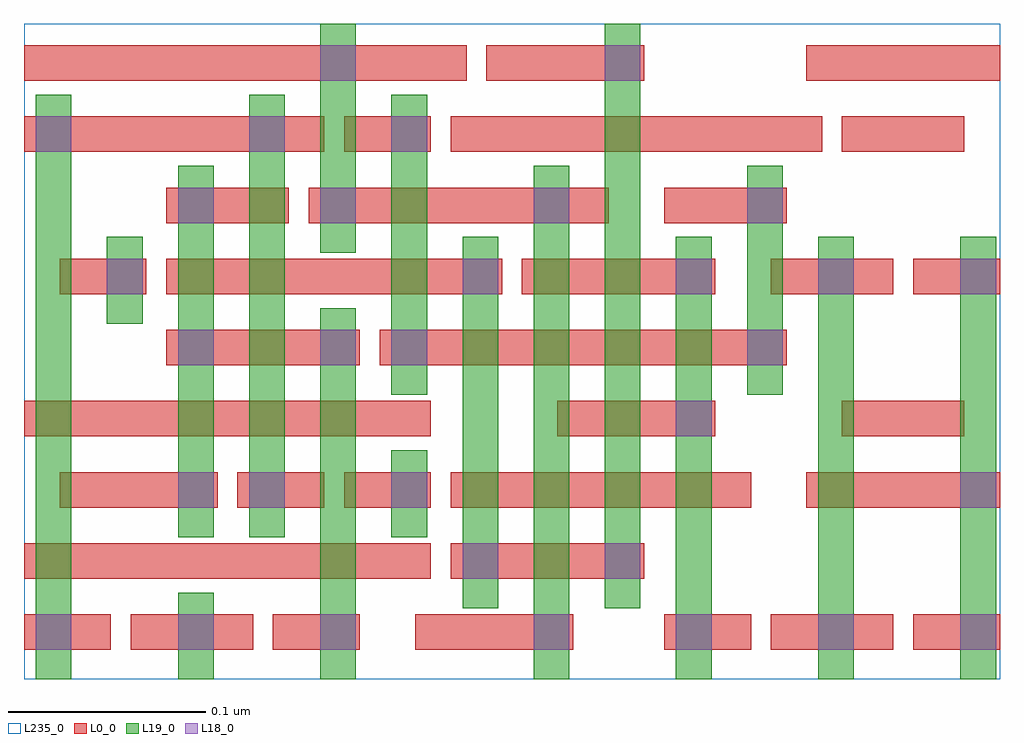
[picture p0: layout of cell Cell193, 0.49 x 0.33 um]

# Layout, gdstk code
import gdstk
lib = gdstk.Library(unit=1e-6, precision=2.5e-10)
def R(c, l, rs):  # rectangles x0, y0, x1, y1
    for r in rs: c.add(gdstk.rectangle(r[:2], r[2:], *l))
def A(c, l, x, y, w, h, nx, ny, dx, dy):  # array of equal rectangles
    R(c, l, [(x+i*dx, y+j*dy, x+i*dx+w, y+j*dy+h) for i in range(nx) for j in range(ny)])
L0_0 = (0, 0)
L18_0 = (18, 0)
L19_0 = (19, 0)
L235_0 = (235, 0)

cell193 = lib.new_cell('Cell193')
R(cell193, L0_0, [(0.004,-0.001,0.048,0.017), (0.058,-0.001,0.12,0.017), (0.13,-0.001,0.174,0.017), (0.202,-0.001,0.282,0.017), (0.328,-0.001,0.372,0.017), (0.382,-0.001,0.444,0.017), (0.454,-0.001,0.498,0.017), (0.004,0.035,0.21,0.053), (0.22,0.035,0.318,0.053), (0.022,0.071,0.102,0.089), (0.112,0.071,0.156,0.089), (0.166,0.071,0.21,0.089), (0.22,0.071,0.372,0.089), (0.4,0.071,0.498,0.089), (0.004,0.107,0.21,0.125), (0.274,0.107,0.354,0.125), (0.418,0.107,0.48,0.125), (0.076,0.143,0.174,0.161), (0.184,0.143,0.39,0.161), (0.022,0.179,0.066,0.197), (0.076,0.179,0.246,0.197), (0.256,0.179,0.354,0.197), (0.382,0.179,0.444,0.197), (0.454,0.179,0.498,0.197), (0.076,0.215,0.138,0.233), (0.148,0.215,0.3,0.233), (0.328,0.215,0.39,0.233), (0.004,0.251,0.156,0.269), (0.166,0.251,0.21,0.269), (0.22,0.251,0.408,0.269), (0.418,0.251,0.48,0.269), (0.004,0.287,0.228,0.305), (0.238,0.287,0.318,0.305), (0.4,0.287,0.498,0.305)])
A(cell193, L18_0, 0.01, -0.001, 0.018, 0.018, 3, 1, 0.072, 0)
A(cell193, L18_0, 0.262, -0.001, 0.018, 0.018, 4, 1, 0.072, 0)
A(cell193, L18_0, 0.082, 0.071, 0.018, 0.018, 1, 3, 0, 0.072)
A(cell193, L18_0, 0.334, 0.179, 0.018, 0.018, 3, 1, 0.072, 0)
A(cell193, L18_0, 0.154, 0.215, 0.018, 0.018, 3, 1, 0.108, 0)
R(cell193, L18_0, [(0.226,0.035,0.244,0.053), (0.298,0.035,0.316,0.053), (0.118,0.071,0.136,0.089), (0.19,0.071,0.208,0.089), (0.478,0.071,0.496,0.089), (0.334,0.107,0.352,0.125), (0.154,0.143,0.172,0.161), (0.19,0.143,0.208,0.161), (0.37,0.143,0.388,0.161), (0.046,0.179,0.064,0.197), (0.226,0.179,0.244,0.197), (0.01,0.251,0.028,0.269), (0.118,0.251,0.136,0.269), (0.19,0.251,0.208,0.269), (0.154,0.287,0.172,0.305), (0.298,0.287,0.316,0.305)])
A(cell193, L19_0, 0.334, -0.016, 0.018, 0.224, 3, 1, 0.072, 0)
R(cell193, L19_0, [(0.01,-0.016,0.028,0.28), (0.082,-0.016,0.1,0.028), (0.154,-0.016,0.172,0.172), (0.262,-0.016,0.28,0.244), (0.226,0.02,0.244,0.208), (0.298,0.02,0.316,0.316), (0.082,0.056,0.1,0.244), (0.118,0.056,0.136,0.28), (0.19,0.056,0.208,0.1), (0.19,0.128,0.208,0.28), (0.37,0.128,0.388,0.244), (0.046,0.164,0.064,0.208), (0.154,0.2,0.172,0.316)])
R(cell193, L235_0, [(0.004,-0.016,0.498,0.316)])

lib.write_gds('Cell193.gds')
